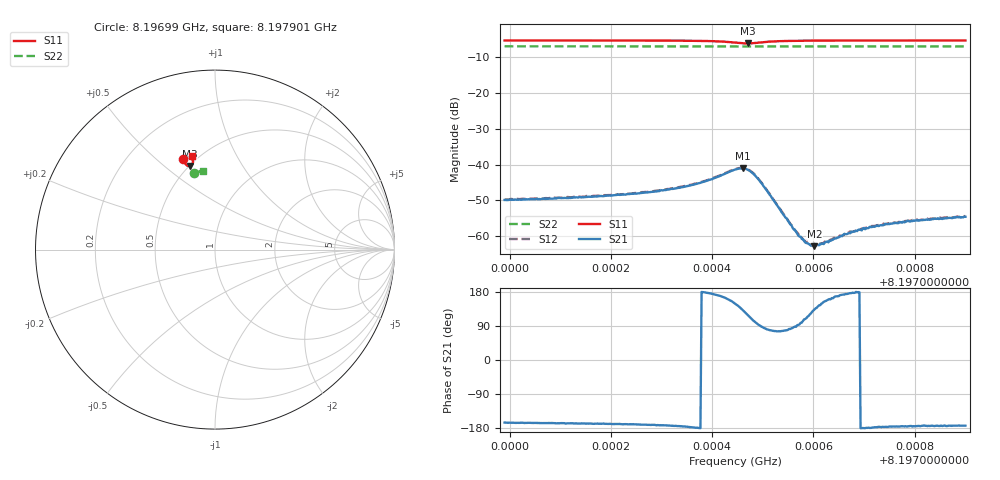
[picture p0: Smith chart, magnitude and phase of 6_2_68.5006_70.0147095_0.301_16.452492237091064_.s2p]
#  HZ  S  RI  R  50.00
! Rohde & Schwarz Vector Network Analyzer
! Rohde-Schwarz,ZNB20-2Port,1311601062101988,3.16
! Created: UTC 3/20/2024, 4:48:49 PM
! freq[Hz]  re:S11  im:S11  re:S21  im:S21  re:S12  im:S12  re:S22  im:S22
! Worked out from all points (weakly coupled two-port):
!   401 points, 8.19699 GHz to 8.197901 GHz, reference 50 ohm
!   highest |S21| = -41.04 dB at 8.197461 GHz (marker M1); lowest = -62.7 dB at 8.197602 GHz (marker M2)
!   lowest |S11| = -6.3 dB at 8.19747 GHz (marker M3), VSWR 2.90, Z = 25.2 + j30.7 ohm
!   |S11| at or under -10 dB: nowhere
!   |S22| runs from -7.1 to -7.0 dB; largest |S21 - S12| = 0.00044
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8.1969897e9  -0.18 0.505  -0.0031 -0.000821  -0.00319 -0.000718  -0.1152 0.4289
8.1971423e9  -0.1677 0.5085  -0.0034 -0.00078  -0.00351 -0.000621  -0.1067 0.4307
8.1972357e9  -0.1591 0.5105  -0.00382 -0.000685  -0.0039 -0.000531  -0.1016 0.4318
8.1972949e9  -0.1525 0.5114  -0.00422 -0.000572  -0.00436 -0.000436  -0.0981 0.4325
8.1973723e9  -0.1398 0.5102  -0.00548 -9.22e-05  -0.00555 0.000129  -0.0937 0.4332
8.1974452e9  -0.1227 0.4852  -0.00732 0.00437  -0.00725 0.00475  -0.0895 0.4332
8.1974611e9  -0.1304 0.4711  -0.00581 0.0067  -0.00559 0.00707  -0.089 0.4329
8.1974702e9  -0.1399 0.4663  -0.00409 0.00742  -0.00379 0.00774  -0.0886 0.4328
8.1974816e9  -0.1531 0.4675  -0.00177 0.00719  -0.00153 0.00744  -0.0883 0.4331
8.1974953e9  -0.1633 0.476  2.99e-05 0.00575  0.000252 0.00586  -0.088 0.4335
8.1975567e9  -0.1613 0.5038  0.000159 0.00142  0.000242 0.00141  -0.0844 0.4348
8.197575e9  -0.1584 0.5069  -0.000139 0.000978  -8.47e-05 0.000954  -0.0834 0.435
8.1975863e9  -0.1566 0.5083  -0.000284 0.000753  -0.000269 0.00083  -0.0827 0.4352
8.1975977e9  -0.1549 0.5095  -0.000465 0.000609  -0.000433 0.000644  -0.0821 0.4352
8.1976023e9  -0.1545 0.5102  -0.0005 0.000531  -0.000524 0.000589  -0.0818 0.4354
8.1976228e9  -0.1517 0.5115  -0.000743 0.000349  -0.000755 0.000381  -0.0807 0.4357
8.1976364e9  -0.1499 0.5125  -0.000848 0.000252  -0.000862 0.000285  -0.0799 0.4357
8.1976797e9  -0.1452 0.5146  -0.00116 6.04e-05  -0.00117 9.31e-05  -0.0774 0.436
8.1977116e9  -0.1421 0.5159  -0.00136 -1.8e-05  -0.00136 8.17e-06  -0.0756 0.4363
8.1977503e9  -0.1386 0.5169  -0.00147 -0.000115  -0.0015 -4.49e-05  -0.0733 0.4367
8.1978027e9  -0.134 0.5184  -0.00166 -0.000164  -0.00165 -0.000119  -0.0704 0.437
8.1979006e9  -0.126 0.5205  -0.00186 -0.000219  -0.0019 -0.000152  -0.0649 0.4376
